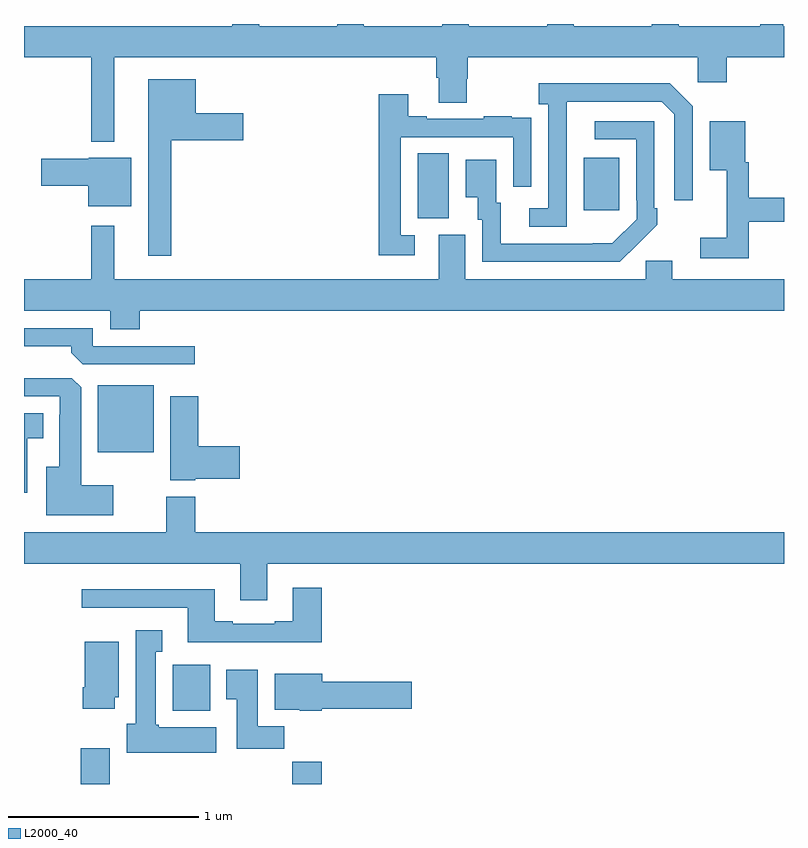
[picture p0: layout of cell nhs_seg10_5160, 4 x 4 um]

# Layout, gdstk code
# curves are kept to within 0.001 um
import gdstk
lib = gdstk.Library(unit=1e-6, precision=1e-09)
def R(c, l, rs):  # rectangles x0, y0, x1, y1
    for r in rs: c.add(gdstk.rectangle(r[:2], r[2:], *l))
def P(c, l, *ps):  # polygons
    for p in ps: c.add(gdstk.Polygon(p, *l))
L2000_40 = (2000, 40)

nhs_seg10_5160 = lib.new_cell('nhs_seg10_5160')
R(nhs_seg10_5160, L2000_40, [(411.299,1288.5,411.451,1288.687), (412.411,1288.5,412.568,1288.616), (411.782,1288.886,411.979,1289.128), (411.389,1290.245,411.682,1290.598), (413.072,1291.477,413.236,1291.82), (413.945,1291.521,414.133,1291.795)])
P(nhs_seg10_5160, L2000_40, [(413.201,1292.488),(412.789,1292.488),(412.789,1292.5),(412.649,1292.5),(412.649,1292.488),(412.237,1292.488),(412.237,1292.5),(412.097,1292.5),(412.097,1292.488),(411,1292.488),(411,1292.324),(411.354,1292.324),(411.354,1291.88),(411.475,1291.88),(411.475,1292.324),(413.171,1292.324),(413.171,1292.218),(413.183,1292.218),(413.183,1292.086),(413.331,1292.086),(413.331,1292.211),(413.336,1292.211),(413.336,1292.324),(414.546,1292.324),(414.546,1292.193),(414.698,1292.193),(414.698,1292.324),(415,1292.324),(415,1292.488),(414.997,1292.488),(414.997,1292.5),(414.875,1292.5),(414.875,1292.488),(414.445,1292.488),(414.445,1292.5),(414.305,1292.5),(414.305,1292.488),(413.893,1292.488),(413.893,1292.5),(413.753,1292.5),(413.753,1292.488),(413.341,1292.488),(413.341,1292.5),(413.201,1292.5)],
  [(411.775,1291.889),(412.153,1291.889),(412.153,1292.031),(411.904,1292.031),(411.904,1292.209),(411.653,1292.209),(411.653,1291.281),(411.775,1291.281)],
  [(413.856,1291.891),(413.857,1292.091),(414.357,1292.091),(414.423,1292.025),(414.423,1291.572),(414.519,1291.572),(414.519,1292.067),(414.398,1292.188),(413.709,1292.188),(413.709,1292.078),(413.76,1292.078),(413.76,1291.53),(413.658,1291.53),(413.658,1291.434),(413.856,1291.434)],
  [(413.056,1291.389),(412.983,1291.389),(412.983,1291.905),(413.574,1291.905),(413.574,1291.644),(413.67,1291.644),(413.67,1291.898),(413.669,1291.898),(413.669,1292.007),(413.567,1292.007),(413.567,1292.014),(413.419,1292.014),(413.419,1292.001),(413.119,1292.001),(413.119,1292.014),(413.023,1292.014),(413.023,1292.131),(412.867,1292.131),(412.867,1291.284),(413.056,1291.284)],
  [(414.227,1291.339),(414.228,1291.338),(414.333,1291.443),(414.333,1291.531),(414.318,1291.531),(414.318,1291.989),(414.003,1291.989),(414.003,1291.893),(414.222,1291.893),(414.222,1291.573),(414.225,1291.573),(414.225,1291.473),(414.097,1291.345),(413.509,1291.344),(413.509,1291.56),(413.485,1291.56),(413.485,1291.786),(413.324,1291.786),(413.324,1291.589),(413.387,1291.589),(413.387,1291.47),(413.412,1291.47),(413.412,1291.248),(414.136,1291.248)],
  [(414.815,1291.458),(415,1291.458),(415,1291.586),(414.815,1291.586),(414.815,1291.773),(414.796,1291.773),(414.796,1291.987),(414.608,1291.987),(414.608,1291.73),(414.698,1291.73),(414.698,1291.375),(414.558,1291.375),(414.558,1291.266),(414.815,1291.266)],
  [(411.565,1291.795),(411.342,1291.795),(411.342,1291.79),(411.09,1291.79),(411.09,1291.648),(411.338,1291.648),(411.338,1291.541),(411.565,1291.541)],
  [(411.608,1290.992),(415,1290.992),(415,1291.156),(414.412,1291.156),(414.412,1291.254),(414.273,1291.254),(414.273,1291.156),(413.323,1291.156),(413.323,1291.392),(413.183,1291.392),(413.183,1291.156),(411.475,1291.156),(411.475,1291.438),(411.354,1291.438),(411.354,1291.156),(411,1291.156),(411,1290.992),(411.455,1290.992),(411.455,1290.893),(411.608,1290.893)],
  [(411.898,1290.804),(411.363,1290.804),(411.363,1290.9),(411,1290.9),(411,1290.804),(411.248,1290.804),(411.248,1290.77),(411.309,1290.708),(411.898,1290.708)],
  [(411.469,1290.073),(411.301,1290.073),(411.301,1290.587),(411.252,1290.636),(411,1290.636),(411,1290.54),(411.189,1290.54),(411.189,1290.443),(411.185,1290.443),(411.185,1290.169),(411.116,1290.169),(411.116,1289.915),(411.469,1289.915)],
  [(411.9,1290.107),(412.135,1290.107),(412.135,1290.278),(411.917,1290.278),(411.917,1290.541),(411.77,1290.541),(411.77,1290.098),(411.9,1290.098)],
  [(411.016,1290.32),(411.1,1290.32),(411.1,1290.451),(411,1290.451),(411,1290.033),(411.016,1290.033)],
  [(412.279,1289.66),(415,1289.66),(415,1289.824),(411.902,1289.824),(411.902,1290.013),(411.749,1290.013),(411.749,1289.824),(411,1289.824),(411,1289.66),(412.139,1289.66),(412.139,1289.466),(412.279,1289.466)],
  [(412.568,1289.533),(412.415,1289.533),(412.415,1289.356),(412.319,1289.356),(412.319,1289.343),(412.099,1289.343),(412.099,1289.356),(412.003,1289.356),(412.003,1289.524),(411.303,1289.524),(411.303,1289.427),(411.863,1289.427),(411.863,1289.246),(412.568,1289.246)],
  [(412.012,1288.798),(411.708,1288.798),(411.708,1288.812),(411.694,1288.812),(411.694,1289.195),(411.727,1289.195),(411.727,1289.308),(411.587,1289.308),(411.587,1288.818),(411.542,1288.818),(411.542,1288.664),(412.012,1288.664)],
  [(411.478,1288.956),(411.499,1288.956),(411.499,1289.248),(411.32,1289.248),(411.32,1289.008),(411.308,1289.008),(411.308,1288.896),(411.478,1288.896)],
  [(412.37,1288.804),(412.231,1288.804),(412.231,1289.101),(412.064,1289.101),(412.064,1288.945),(412.121,1288.945),(412.121,1288.686),(412.37,1288.686)],
  [(412.566,1288.897),(413.041,1288.897),(413.041,1289.039),(412.57,1289.039),(412.57,1289.08),(412.319,1289.08),(412.319,1288.892),(412.452,1288.892),(412.452,1288.886),(412.566,1288.886)])

lib.write_gds('nhs_seg10_5160.gds')
